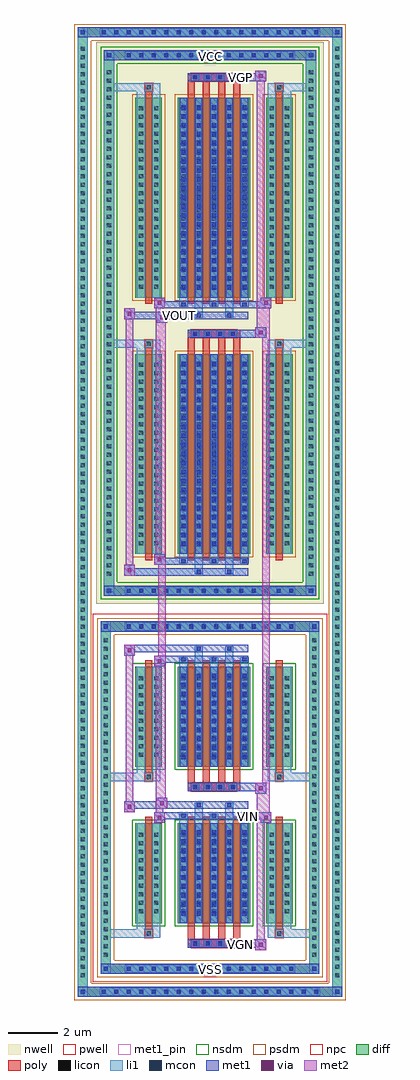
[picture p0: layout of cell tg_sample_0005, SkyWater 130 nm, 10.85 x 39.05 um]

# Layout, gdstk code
import gdstk
lib = gdstk.Library(unit=1e-6, precision=5e-09)
def R(c, l, rs):  # rectangles x0, y0, x1, y1
    for r in rs: c.add(gdstk.rectangle(r[:2], r[2:], *l))
def A(c, l, x, y, w, h, nx, ny, dx, dy):  # array of equal rectangles
    R(c, l, [(x+i*dx, y+j*dy, x+i*dx+w, y+j*dy+h) for i in range(nx) for j in range(ny)])
def P(c, l, *ps):  # polygons
    for p in ps: c.add(gdstk.Polygon(p, *l))
nwell = (64, 20)
pwell = (64, 44)
diff = (65, 20)
poly = (66, 20)
licon = (66, 44)
li1 = (67, 20)
mcon = (67, 44)
met1_pin = (68, 16)
met1 = (68, 20)
via = (68, 44)
met2 = (69, 20)
nsdm = (93, 44)
psdm = (94, 20)
npc = (95, 20)

tg_sample_0005 = lib.new_cell('tg_sample_0005')
R(tg_sample_0005, nwell, [(-4.555,7.76,4.555,30.21)])
R(tg_sample_0005, pwell, [(-4.685,-7.36,4.685,7.36)])
A(tg_sample_0005, diff, -4.455, -7.97, 0.41, 0.41, 18, 2, 0.5, 38.38)
A(tg_sample_0005, diff, -5.295, -7.31, 0.41, 0.41, 1, 110, 0, 0.34)
A(tg_sample_0005, diff, 4.885, -7.31, 0.41, 0.41, 1, 110, 0, 0.34)
A(tg_sample_0005, diff, -3.455, -7.05, 0.41, 0.41, 14, 2, 0.5, 13.69)
A(tg_sample_0005, diff, -4.375, -6.495, 0.41, 0.41, 1, 38, 0, 0.34)
A(tg_sample_0005, diff, 3.965, -6.495, 0.41, 0.41, 1, 38, 0, 0.34)
A(tg_sample_0005, diff, -3.455, 8.07, 0.41, 0.41, 14, 2, 0.5, 21.42)
A(tg_sample_0005, diff, -4.245, 8.75, 0.41, 0.41, 1, 60, 0, 0.34)
A(tg_sample_0005, diff, 3.835, 8.75, 0.41, 0.41, 1, 60, 0, 0.34)
R(tg_sample_0005, diff, [(-4.455,-7.97,4.455,-7.56), (-5.295,-7.31,-4.885,30.16), (4.885,-7.31,5.295,30.16), (-3.455,-7.05,3.455,-6.64), (-4.375,-6.495,-3.965,6.495), (3.965,-6.495,4.375,6.495), (-2.985,-5.02,-1.925,-1.02), (-1.285,-5.02,1.605,-1.02), (2.245,-5.02,3.305,-1.02), (-2.985,1.24,-1.925,5.24), (-1.285,1.24,1.605,5.24), (2.245,1.24,3.305,5.24), (-3.455,6.64,3.455,7.05), (-3.455,8.07,3.455,8.48), (-4.245,8.75,-3.835,29.22), (3.835,8.75,4.245,29.22), (-2.985,9.745,-1.925,17.745), (-1.285,9.745,1.605,17.745), (2.245,9.745,3.305,17.745), (-2.985,20.005,-1.925,28.005), (-1.285,20.005,1.605,28.005), (2.245,20.005,3.305,28.005), (-3.455,29.49,3.455,29.9), (-4.455,30.41,4.455,30.82)])
P(tg_sample_0005, diff, [(4.375,7.05),(-4.375,7.05),(-4.375,-6.64),(-3.965,-6.64),(-3.965,6.64),(3.965,6.64),(3.965,-6.64),(-3.965,-6.64),(-4.375,-6.64),(-4.375,-7.05),(4.375,-7.05)],
  [(5.295,30.82),(-5.295,30.82),(-5.295,-7.56),(-4.885,-7.56),(-4.885,30.41),(4.885,30.41),(4.885,-7.56),(-4.885,-7.56),(-5.295,-7.56),(-5.295,-7.97),(5.295,-7.97)],
  [(4.245,8.07),(-4.245,8.07),(-4.245,29.49),(-3.835,29.49),(-3.835,8.48),(3.835,8.48),(3.835,29.49),(-3.835,29.49),(-4.245,29.49),(-4.245,29.9),(4.245,29.9)])
A(tg_sample_0005, poly, -0.755, -6, 0.33, 0.33, 4, 2, 0.5, 6.26)
A(tg_sample_0005, poly, -0.895, -5.67, 0.28, 0.4, 4, 2, 0.61, 6.26)
A(tg_sample_0005, poly, -0.895, -5.27, 0.28, 4.5, 4, 2, 0.61, 6.26)
A(tg_sample_0005, poly, -0.895, 9.495, 0.28, 8.5, 4, 2, 0.61, 10.26)
A(tg_sample_0005, poly, -0.895, 17.995, 0.28, 0.4, 4, 2, 0.61, 10.26)
A(tg_sample_0005, poly, -0.755, 18.395, 0.33, 0.33, 4, 2, 0.5, 10.26)
R(tg_sample_0005, poly, [(-0.895,-6,1.215,-5.67), (-2.62,-5.6,-2.29,-5.27), (-2.62,-5.6,-2.29,-5.27), (2.61,-5.6,2.94,-5.27), (2.61,-5.6,2.94,-5.27), (-2.595,-5.27,-2.315,-0.77), (2.635,-5.27,2.915,-0.77), (-0.895,0.26,1.215,0.59), (-2.62,0.66,-2.29,0.99), (-2.62,0.66,-2.29,0.99), (2.61,0.66,2.94,0.99), (2.61,0.66,2.94,0.99), (-2.595,0.99,-2.315,5.49), (2.635,0.99,2.915,5.49), (-2.595,9.495,-2.315,17.995), (2.635,9.495,2.915,17.995), (-2.62,17.995,-2.29,18.325), (-2.62,17.995,-2.29,18.325), (2.61,17.995,2.94,18.325), (2.61,17.995,2.94,18.325), (-0.895,18.395,1.215,18.725), (-2.595,19.755,-2.315,28.255), (2.635,19.755,2.915,28.255), (-2.62,28.255,-2.29,28.585), (-2.62,28.255,-2.29,28.585), (2.61,28.255,2.94,28.585), (2.61,28.255,2.94,28.585), (-0.895,28.655,1.215,28.985)])
A(tg_sample_0005, licon, -4.335, -7.85, 0.17, 0.17, 18, 2, 0.5, 38.38)
A(tg_sample_0005, licon, -5.175, -7.19, 0.17, 0.17, 1, 110, 0, 0.34)
A(tg_sample_0005, licon, 5.005, -7.19, 0.17, 0.17, 1, 110, 0, 0.34)
A(tg_sample_0005, licon, -3.335, -6.93, 0.17, 0.17, 14, 2, 0.5, 13.69)
A(tg_sample_0005, licon, -4.255, -6.375, 0.17, 0.17, 1, 38, 0, 0.34)
A(tg_sample_0005, licon, 4.085, -6.375, 0.17, 0.17, 1, 38, 0, 0.34)
A(tg_sample_0005, licon, -0.675, -5.92, 0.17, 0.17, 4, 2, 0.5, 6.26)
A(tg_sample_0005, licon, -2.845, -4.635, 0.17, 0.17, 1, 10, 0, 0.34)
A(tg_sample_0005, licon, -2.235, -4.635, 0.17, 0.17, 1, 10, 0, 0.34)
A(tg_sample_0005, licon, -1.145, -4.635, 0.17, 0.17, 5, 10, 0.61, 0.34)
A(tg_sample_0005, licon, 2.385, -4.635, 0.17, 0.17, 1, 10, 0, 0.34)
A(tg_sample_0005, licon, 2.995, -4.635, 0.17, 0.17, 1, 10, 0, 0.34)
A(tg_sample_0005, licon, -2.845, 1.625, 0.17, 0.17, 1, 10, 0, 0.34)
A(tg_sample_0005, licon, -2.235, 1.625, 0.17, 0.17, 1, 10, 0, 0.34)
A(tg_sample_0005, licon, -1.145, 1.625, 0.17, 0.17, 5, 10, 0.61, 0.34)
A(tg_sample_0005, licon, 2.385, 1.625, 0.17, 0.17, 1, 10, 0, 0.34)
A(tg_sample_0005, licon, 2.995, 1.625, 0.17, 0.17, 1, 10, 0, 0.34)
A(tg_sample_0005, licon, -3.335, 8.19, 0.17, 0.17, 14, 2, 0.5, 21.42)
A(tg_sample_0005, licon, -4.125, 8.87, 0.17, 0.17, 1, 60, 0, 0.34)
A(tg_sample_0005, licon, 3.955, 8.87, 0.17, 0.17, 1, 60, 0, 0.34)
A(tg_sample_0005, licon, -2.845, 10.09, 0.17, 0.17, 1, 22, 0, 0.34)
A(tg_sample_0005, licon, -2.235, 10.09, 0.17, 0.17, 1, 22, 0, 0.34)
A(tg_sample_0005, licon, -1.145, 10.09, 0.17, 0.17, 5, 22, 0.61, 0.34)
A(tg_sample_0005, licon, 2.385, 10.09, 0.17, 0.17, 1, 22, 0, 0.34)
A(tg_sample_0005, licon, 2.995, 10.09, 0.17, 0.17, 1, 22, 0, 0.34)
A(tg_sample_0005, licon, -0.675, 18.475, 0.17, 0.17, 4, 2, 0.5, 10.26)
A(tg_sample_0005, licon, -2.845, 20.35, 0.17, 0.17, 1, 22, 0, 0.34)
A(tg_sample_0005, licon, -2.235, 20.35, 0.17, 0.17, 1, 22, 0, 0.34)
A(tg_sample_0005, licon, -1.145, 20.35, 0.17, 0.17, 5, 22, 0.61, 0.34)
A(tg_sample_0005, licon, 2.385, 20.35, 0.17, 0.17, 1, 22, 0, 0.34)
A(tg_sample_0005, licon, 2.995, 20.35, 0.17, 0.17, 1, 22, 0, 0.34)
R(tg_sample_0005, licon, [(-2.54,-5.52,-2.37,-5.35), (2.69,-5.52,2.86,-5.35), (-2.54,0.74,-2.37,0.91), (2.69,0.74,2.86,0.91), (-2.54,18.075,-2.37,18.245), (2.69,18.075,2.86,18.245), (-2.54,28.335,-2.37,28.505), (2.69,28.335,2.86,28.505)])
A(tg_sample_0005, li1, -4.415, -7.93, 0.33, 0.33, 18, 2, 0.5, 38.38)
A(tg_sample_0005, li1, -5.255, -7.27, 0.33, 0.33, 1, 110, 0, 0.34)
A(tg_sample_0005, li1, 4.925, -7.27, 0.33, 0.33, 1, 110, 0, 0.34)
A(tg_sample_0005, li1, -3.415, -7.01, 0.33, 0.33, 14, 2, 0.5, 13.69)
A(tg_sample_0005, li1, -4.335, -6.455, 0.33, 0.33, 1, 38, 0, 0.34)
A(tg_sample_0005, li1, 4.005, -6.455, 0.33, 0.33, 1, 38, 0, 0.34)
A(tg_sample_0005, li1, -0.755, -6, 0.33, 0.33, 4, 2, 0.5, 6.26)
A(tg_sample_0005, li1, -1.225, -5.02, 0.33, 4, 5, 2, 0.61, 6.26)
A(tg_sample_0005, li1, -1.145, -4.725, 0.17, 0.17, 5, 10, 0.61, 0.36)
A(tg_sample_0005, li1, -1.145, -4.725, 0.17, 3.41, 5, 2, 0.61, 6.26)
A(tg_sample_0005, li1, -2.925, -4.715, 0.33, 0.33, 1, 10, 0, 0.34)
A(tg_sample_0005, li1, -2.315, -4.715, 0.33, 0.33, 1, 10, 0, 0.34)
A(tg_sample_0005, li1, -1.225, -4.715, 0.33, 0.33, 5, 10, 0.61, 0.34)
A(tg_sample_0005, li1, 2.305, -4.715, 0.33, 0.33, 1, 10, 0, 0.34)
A(tg_sample_0005, li1, 2.915, -4.715, 0.33, 0.33, 1, 10, 0, 0.34)
A(tg_sample_0005, li1, -1.225, -1.02, 0.33, 0.375, 3, 2, 1.22, 6.26)
A(tg_sample_0005, li1, -1.145, -0.815, 0.17, 0.17, 3, 2, 1.22, 6.26)
A(tg_sample_0005, li1, -1.145, 1.535, 0.17, 0.17, 5, 10, 0.61, 0.36)
A(tg_sample_0005, li1, -2.925, 1.545, 0.33, 0.33, 1, 10, 0, 0.34)
A(tg_sample_0005, li1, -2.315, 1.545, 0.33, 0.33, 1, 10, 0, 0.34)
A(tg_sample_0005, li1, -1.225, 1.545, 0.33, 0.33, 5, 10, 0.61, 0.34)
A(tg_sample_0005, li1, 2.305, 1.545, 0.33, 0.33, 1, 10, 0, 0.34)
A(tg_sample_0005, li1, 2.915, 1.545, 0.33, 0.33, 1, 10, 0, 0.34)
A(tg_sample_0005, li1, -3.415, 8.11, 0.33, 0.33, 14, 2, 0.5, 21.42)
A(tg_sample_0005, li1, -4.205, 8.79, 0.33, 0.33, 1, 60, 0, 0.34)
A(tg_sample_0005, li1, 3.875, 8.79, 0.33, 0.33, 1, 60, 0, 0.34)
A(tg_sample_0005, li1, -1.225, 9.37, 0.33, 0.375, 3, 2, 1.22, 10.26)
A(tg_sample_0005, li1, -1.145, 9.37, 0.17, 0.17, 3, 2, 1.22, 10.26)
A(tg_sample_0005, li1, -1.225, 9.745, 0.33, 8, 5, 2, 0.61, 10.26)
A(tg_sample_0005, li1, -2.925, 10.01, 0.33, 0.33, 1, 22, 0, 0.34)
A(tg_sample_0005, li1, -2.315, 10.01, 0.33, 0.33, 1, 22, 0, 0.34)
A(tg_sample_0005, li1, -1.225, 10.01, 0.33, 0.33, 5, 22, 0.61, 0.34)
A(tg_sample_0005, li1, 2.305, 10.01, 0.33, 0.33, 1, 22, 0, 0.34)
A(tg_sample_0005, li1, 2.915, 10.01, 0.33, 0.33, 1, 22, 0, 0.34)
A(tg_sample_0005, li1, -1.145, 10.06, 0.17, 0.17, 5, 21, 0.61, 0.36)
A(tg_sample_0005, li1, -1.145, 10.06, 0.17, 7.37, 5, 2, 0.61, 10.26)
A(tg_sample_0005, li1, -0.755, 18.395, 0.33, 0.33, 4, 2, 0.5, 10.26)
A(tg_sample_0005, li1, -2.925, 20.27, 0.33, 0.33, 1, 22, 0, 0.34)
A(tg_sample_0005, li1, -2.315, 20.27, 0.33, 0.33, 1, 22, 0, 0.34)
A(tg_sample_0005, li1, -1.225, 20.27, 0.33, 0.33, 5, 22, 0.61, 0.34)
A(tg_sample_0005, li1, 2.305, 20.27, 0.33, 0.33, 1, 22, 0, 0.34)
A(tg_sample_0005, li1, 2.915, 20.27, 0.33, 0.33, 1, 22, 0, 0.34)
A(tg_sample_0005, li1, -1.145, 20.32, 0.17, 0.17, 5, 21, 0.61, 0.36)
R(tg_sample_0005, li1, [(-5.295,-7.97,-4.885,-7.56), (4.885,-7.97,5.295,-7.56), (-4.415,-7.93,4.415,-7.6), (-5.175,-7.85,-5.005,-7.68), (-5.175,-7.85,-5.005,-7.68), (5.005,-7.85,5.175,-7.68), (5.005,-7.85,5.175,-7.68), (-5.295,-7.56,-4.885,30.41), (4.885,-7.56,5.295,30.41), (-4.375,-7.05,-3.965,-6.64), (3.965,-7.05,4.375,-6.64), (-3.415,-7.01,3.415,-6.68), (-4.255,-6.93,-4.085,-6.76), (-4.255,-6.93,-4.085,-6.76), (4.085,-6.93,4.255,-6.76), (4.085,-6.93,4.255,-6.76), (-4.375,-6.64,-3.965,6.64), (3.965,-6.64,4.375,6.64), (-4.375,-5.6,-2.62,-5.27), (-2.925,-5.6,-2.62,-5.27), (-2.925,-5.6,-2.595,-5.02), (-2.62,-5.6,-2.29,-5.27), (-2.315,-5.6,-1.985,-5.02), (-2.29,-5.6,-1.985,-5.27), (2.305,-5.6,2.61,-5.27), (2.305,-5.6,2.635,-5.02), (2.61,-5.6,2.94,-5.27), (2.61,-5.6,4.375,-5.27), (2.915,-5.6,3.245,-5.02), (2.94,-5.6,3.245,-5.27), (-2.925,-5.02,-2.595,-1.02), (-2.315,-5.02,-1.985,-1.02), (2.305,-5.02,2.635,-1.02), (2.915,-5.02,3.245,-1.02), (-0.615,-1.02,-0.285,-0.215), (0.605,-1.02,0.935,-0.215), (-0.535,-0.385,-0.365,-0.215), (0.685,-0.385,0.855,-0.215), (-4.375,0.66,-2.62,0.99), (-2.925,0.66,-2.62,0.99), (-2.925,0.66,-2.595,1.24), (-2.62,0.66,-2.29,0.99), (-2.315,0.66,-1.985,1.24), (-2.29,0.66,-1.985,0.99), (2.305,0.66,2.61,0.99), (2.305,0.66,2.635,1.24), (2.61,0.66,2.94,0.99), (2.61,0.66,4.375,0.99), (2.915,0.66,3.245,1.24), (2.94,0.66,3.245,0.99), (-2.925,1.24,-2.595,5.24), (-2.315,1.24,-1.985,5.24), (2.305,1.24,2.635,5.24), (2.915,1.24,3.245,5.24), (-0.615,5.24,-0.285,6.045), (0.605,5.24,0.935,6.045), (-0.535,5.875,-0.365,6.045), (0.685,5.875,0.855,6.045), (-4.375,6.64,-3.965,7.05), (3.965,6.64,4.375,7.05), (-3.415,6.68,3.415,7.01), (-4.255,6.76,-4.085,6.93), (-4.255,6.76,-4.085,6.93), (4.085,6.76,4.255,6.93), (4.085,6.76,4.255,6.93), (-4.245,8.07,-3.835,8.48), (3.835,8.07,4.245,8.48), (-3.415,8.11,3.415,8.44), (-4.125,8.19,-3.955,8.36), (-4.125,8.19,-3.955,8.36), (3.955,8.19,4.125,8.36), (3.955,8.19,4.125,8.36), (-4.245,8.48,-3.835,29.49), (3.835,8.48,4.245,29.49), (-0.615,8.94,-0.285,9.745), (-0.535,8.94,-0.365,9.11), (0.605,8.94,0.935,9.745), (0.685,8.94,0.855,9.11), (-2.925,9.745,-2.595,17.745), (-2.315,9.745,-1.985,17.745), (2.305,9.745,2.635,17.745), (2.915,9.745,3.245,17.745), (-2.925,17.745,-2.595,18.325), (-2.315,17.745,-1.985,18.325), (2.305,17.745,2.635,18.325), (2.915,17.745,3.245,18.325), (-4.245,17.995,-2.62,18.325), (-2.925,17.995,-2.62,18.325), (-2.62,17.995,-2.29,18.325), (-2.29,17.995,-1.985,18.325), (2.305,17.995,2.61,18.325), (2.61,17.995,2.94,18.325), (2.61,17.995,4.245,18.325), (2.94,17.995,3.245,18.325), (-0.615,19.2,-0.285,20.005), (-0.535,19.2,-0.365,19.37), (0.605,19.2,0.935,20.005), (0.685,19.2,0.855,19.37), (-2.925,20.005,-2.595,28.005), (-2.315,20.005,-1.985,28.005), (2.305,20.005,2.635,28.005), (2.915,20.005,3.245,28.005), (-2.925,28.005,-2.595,28.585), (-2.315,28.005,-1.985,28.585), (2.305,28.005,2.635,28.585), (2.915,28.005,3.245,28.585), (-4.245,28.255,-2.62,28.585), (-2.925,28.255,-2.62,28.585), (-2.62,28.255,-2.29,28.585), (-2.29,28.255,-1.985,28.585), (2.305,28.255,2.61,28.585), (2.61,28.255,2.94,28.585), (2.61,28.255,4.245,28.585), (2.94,28.255,3.245,28.585), (-4.245,29.49,-3.835,29.9), (3.835,29.49,4.245,29.9), (-3.415,29.53,3.415,29.86), (-4.125,29.61,-3.955,29.78), (-4.125,29.61,-3.955,29.78), (3.955,29.61,4.125,29.78), (3.955,29.61,4.125,29.78), (-5.295,30.41,-4.885,30.82), (4.885,30.41,5.295,30.82), (-4.415,30.45,4.415,30.78), (-5.175,30.53,-5.005,30.7), (-5.175,30.53,-5.005,30.7), (5.005,30.53,5.175,30.7), (5.005,30.53,5.175,30.7)])
A(tg_sample_0005, mcon, -4.335, -7.85, 0.17, 0.17, 18, 2, 0.5, 38.38)
A(tg_sample_0005, mcon, -3.335, -6.93, 0.17, 0.17, 14, 2, 0.5, 13.69)
A(tg_sample_0005, mcon, -0.675, -5.92, 0.17, 0.17, 4, 2, 0.5, 6.26)
A(tg_sample_0005, mcon, -1.145, -4.725, 0.17, 0.17, 5, 10, 0.61, 0.36)
A(tg_sample_0005, mcon, -1.145, -0.815, 0.17, 0.17, 3, 2, 1.22, 6.26)
A(tg_sample_0005, mcon, -1.145, 1.535, 0.17, 0.17, 5, 10, 0.61, 0.36)
A(tg_sample_0005, mcon, -3.335, 8.19, 0.17, 0.17, 14, 2, 0.5, 21.42)
A(tg_sample_0005, mcon, -1.145, 9.37, 0.17, 0.17, 3, 2, 1.22, 10.26)
A(tg_sample_0005, mcon, -1.145, 10.06, 0.17, 0.17, 5, 21, 0.61, 0.36)
A(tg_sample_0005, mcon, -0.675, 18.475, 0.17, 0.17, 4, 2, 0.5, 10.26)
A(tg_sample_0005, mcon, -1.145, 20.32, 0.17, 0.17, 5, 21, 0.61, 0.36)
R(tg_sample_0005, mcon, [(-5.175,-7.85,-5.005,-7.68), (5.005,-7.85,5.175,-7.68), (-4.255,-6.93,-4.085,-6.76), (4.085,-6.93,4.255,-6.76), (-0.535,-0.385,-0.365,-0.215), (0.685,-0.385,0.855,-0.215), (-0.535,5.875,-0.365,6.045), (0.685,5.875,0.855,6.045), (-4.255,6.76,-4.085,6.93), (4.085,6.76,4.255,6.93), (-4.125,8.19,-3.955,8.36), (3.955,8.19,4.125,8.36), (-0.535,8.94,-0.365,9.11), (0.685,8.94,0.855,9.11), (-0.535,19.2,-0.365,19.37), (0.685,19.2,0.855,19.37), (-4.125,29.61,-3.955,29.78), (3.955,29.61,4.125,29.78), (-5.175,30.53,-5.005,30.7), (5.005,30.53,5.175,30.7)])
R(tg_sample_0005, met1_pin, [(-0.25,-7.14,0.25,-6.64), (1.08,-6,1.35,-5.73), (1.39,-0.875,1.66,-0.605), (-1.34,19.14,-1.07,19.41), (1.08,28.655,1.35,28.925), (-0.25,29.4,0.25,29.9)])
A(tg_sample_0005, met1, -4.395, -7.91, 0.29, 0.29, 18, 2, 0.5, 38.38)
A(tg_sample_0005, met1, -3.395, -6.99, 0.29, 0.29, 14, 2, 0.5, 13.69)
A(tg_sample_0005, met1, -0.735, -5.98, 0.29, 0.29, 4, 2, 0.5, 6.26)
A(tg_sample_0005, met1, -1.205, -5.02, 0.29, 4, 5, 2, 0.61, 6.26)
A(tg_sample_0005, met1, -1.205, -4.785, 0.29, 0.29, 5, 10, 0.61, 0.36)
A(tg_sample_0005, met1, -1.205, -0.875, 0.29, 0.29, 3, 2, 1.22, 6.26)
A(tg_sample_0005, met1, -1.205, 1.475, 0.29, 0.29, 5, 10, 0.61, 0.36)
A(tg_sample_0005, met1, -3.395, 8.13, 0.29, 0.29, 14, 2, 0.5, 21.42)
A(tg_sample_0005, met1, -1.205, 9.31, 0.29, 0.29, 3, 2, 1.22, 10.26)
A(tg_sample_0005, met1, -1.205, 9.745, 0.29, 8, 5, 2, 0.61, 10.26)
A(tg_sample_0005, met1, -1.205, 10, 0.29, 0.29, 5, 21, 0.61, 0.36)
A(tg_sample_0005, met1, -0.735, 18.415, 0.29, 0.29, 4, 2, 0.5, 10.26)
A(tg_sample_0005, met1, -1.205, 20.26, 0.29, 0.29, 5, 21, 0.61, 0.36)
R(tg_sample_0005, met1, [(-5.295,-7.97,-4.885,-7.56), (-5.295,-7.97,-4.885,-7.56), (-4.885,-7.97,4.885,-7.56), (4.885,-7.97,5.295,-7.56), (4.885,-7.97,5.295,-7.56), (-5.235,-7.91,-4.945,-7.62), (4.945,-7.91,5.235,-7.62), (-4.375,-7.05,-3.965,-6.64), (-4.375,-7.05,-3.965,-6.64), (-3.965,-7.05,3.965,-6.64), (3.965,-7.05,4.375,-6.64), (3.965,-7.05,4.375,-6.64), (-4.315,-6.99,-4.025,-6.7), (4.025,-6.99,4.315,-6.7), (1.815,-6.1,2.245,-5.67), (-0.895,-6,1.215,-5.67), (1.215,-6,2.245,-5.67), (-2.235,-1.015,-1.805,-0.585), (2.025,-1.015,2.455,-0.585), (-2.235,-0.875,-1.205,-0.585), (-1.205,-0.875,1.525,-0.585), (1.525,-0.875,2.455,-0.585), (-3.435,-0.585,-3.005,-0.155), (-3.435,-0.445,-1.205,-0.155), (-2.135,-0.445,-1.705,-0.015), (-2.135,-0.445,-1.205,-0.155), (-1.205,-0.445,1.525,-0.155), (-0.595,-0.445,-0.305,-0.155), (0.625,-0.445,0.915,-0.155), (1.815,0.16,2.245,0.59), (-0.895,0.26,1.215,0.59), (1.215,0.26,2.245,0.59), (-2.235,5.245,-1.805,5.675), (-2.235,5.385,-1.205,5.675), (-1.205,5.385,1.525,5.675), (-3.435,5.675,-3.005,6.105), (-3.435,5.815,-1.205,6.105), (-1.205,5.815,1.525,6.105), (-0.595,5.815,-0.305,6.105), (0.625,5.815,0.915,6.105), (-4.375,6.64,-3.965,7.05), (-4.375,6.64,-3.965,7.05), (-3.965,6.64,3.965,7.05), (3.965,6.64,4.375,7.05), (3.965,6.64,4.375,7.05), (-4.315,6.7,-4.025,6.99), (4.025,6.7,4.315,6.99), (-4.245,8.07,-3.835,8.48), (-4.245,8.07,-3.835,8.48), (-3.835,8.07,3.835,8.48), (3.835,8.07,4.245,8.48), (3.835,8.07,4.245,8.48), (-4.185,8.13,-3.895,8.42), (3.895,8.13,4.185,8.42), (-3.435,8.88,-3.005,9.31), (-3.435,8.88,-1.205,9.17), (-1.205,8.88,1.525,9.17), (-0.595,8.88,-0.305,9.17), (0.625,8.88,0.915,9.17), (-2.235,9.31,-1.805,9.74), (-2.235,9.31,-1.205,9.6), (-1.205,9.31,1.525,9.6), (-0.895,18.395,1.215,18.725), (1.215,18.395,2.245,18.725), (1.815,18.395,2.245,18.825), (-2.135,19,-1.705,19.43), (-3.435,19.14,-3.005,19.57), (-3.435,19.14,-1.205,19.43), (-2.135,19.14,-1.205,19.43), (-1.205,19.14,1.525,19.43), (-0.595,19.14,-0.305,19.43), (0.625,19.14,0.915,19.43), (-2.235,19.57,-1.805,20), (-2.235,19.57,-1.205,19.86), (-1.205,19.57,1.525,19.86), (1.525,19.57,2.455,19.86), (2.025,19.57,2.455,20), (-0.895,28.655,1.215,28.985), (1.215,28.655,2.245,28.985), (1.815,28.655,2.245,29.085), (-4.245,29.49,-3.835,29.9), (-4.245,29.49,-3.835,29.9), (-3.835,29.49,3.835,29.9), (3.835,29.49,4.245,29.9), (3.835,29.49,4.245,29.9), (-4.185,29.55,-3.895,29.84), (3.895,29.55,4.185,29.84), (-5.295,30.41,-4.885,30.82), (-5.295,30.41,-4.885,30.82), (-4.885,30.41,4.885,30.82), (4.885,30.41,5.295,30.82), (4.885,30.41,5.295,30.82), (-5.235,30.47,-4.945,30.76), (4.945,30.47,5.235,30.76)])
R(tg_sample_0005, via, [(1.955,-5.96,2.105,-5.81), (-2.095,-0.875,-1.945,-0.725), (2.165,-0.875,2.315,-0.725), (-3.295,-0.445,-3.145,-0.295), (-1.995,-0.305,-1.845,-0.155), (1.955,0.3,2.105,0.45), (-2.095,5.385,-1.945,5.535), (-3.295,5.815,-3.145,5.965), (-3.295,9.02,-3.145,9.17), (-2.095,9.45,-1.945,9.6), (1.955,18.535,2.105,18.685), (-1.995,19.14,-1.845,19.29), (-3.295,19.28,-3.145,19.43), (-2.095,19.71,-1.945,19.86), (2.165,19.71,2.315,19.86), (1.955,28.795,2.105,28.945)])
R(tg_sample_0005, met2, [(1.815,-6.1,2.245,-5.67), (1.865,-6.1,2.195,0.59), (2.195,-6.1,2.245,-5.67), (1.865,-6.05,2.195,-5.72), (-2.235,-1.015,-1.805,-0.585), (-2.165,-1.015,-1.875,5.675), (-1.875,-1.015,-1.805,-0.585), (2.025,-1.015,2.455,-0.585), (2.095,-1.015,2.385,20), (2.385,-1.015,2.455,-0.585), (-2.185,-0.965,-1.855,-0.635), (2.075,-0.965,2.405,-0.635), (-3.435,-0.585,-3.005,-0.155), (-3.365,-0.585,-3.075,6.105), (-3.075,-0.585,-3.005,-0.155), (-3.385,-0.535,-3.055,-0.205), (-2.135,-0.445,-1.705,-0.015), (-2.065,-0.445,-1.775,19.43), (-1.775,-0.445,-1.705,-0.015), (-2.085,-0.395,-1.755,-0.065), (1.815,0.16,2.245,0.59), (2.195,0.16,2.245,0.59), (1.865,0.21,2.195,0.54), (-2.235,5.245,-1.805,5.675), (-1.875,5.245,-1.805,5.675), (-2.185,5.295,-1.855,5.625), (-3.435,5.675,-3.005,6.105), (-3.075,5.675,-3.005,6.105), (-3.385,5.725,-3.055,6.055), (-3.435,8.88,-3.005,9.31), (-3.365,8.88,-3.075,19.57), (-3.075,8.88,-3.005,9.31), (-3.385,8.93,-3.055,9.26), (-2.235,9.31,-1.805,9.74), (-2.165,9.31,-1.875,20), (-1.875,9.31,-1.805,9.74), (-2.185,9.36,-1.855,9.69), (1.815,18.395,2.245,18.825), (1.865,18.395,2.195,29.085), (2.195,18.395,2.245,18.825), (1.865,18.445,2.195,18.775), (-2.135,19,-1.705,19.43), (-1.775,19,-1.705,19.43), (-2.085,19.05,-1.755,19.38), (-3.435,19.14,-3.005,19.57), (-3.075,19.14,-3.005,19.57), (-3.385,19.19,-3.055,19.52), (-2.235,19.57,-1.805,20), (-1.875,19.57,-1.805,20), (2.025,19.57,2.455,20), (2.385,19.57,2.455,20), (-2.185,19.62,-1.855,19.95), (2.075,19.62,2.405,19.95), (1.815,28.655,2.245,29.085), (2.195,28.655,2.245,29.085), (1.865,28.705,2.195,29.035)])
R(tg_sample_0005, nsdm, [(-3.115,-5.15,-1.795,-0.89), (-1.415,-5.15,1.735,-0.89), (2.115,-5.15,3.435,-0.89), (-3.115,1.11,-1.795,5.37), (-1.415,1.11,1.735,5.37), (2.115,1.11,3.435,5.37)])
P(tg_sample_0005, nsdm, [(4.375,7.94),(-4.375,7.94),(-4.375,29.36),(-3.705,29.36),(-3.705,8.61),(3.705,8.61),(3.705,29.36),(-3.705,29.36),(-4.375,29.36),(-4.375,30.03),(4.375,30.03)])
R(tg_sample_0005, psdm, [(-3.115,9.615,-1.795,17.875), (-1.415,9.615,1.735,17.875), (2.115,9.615,3.435,17.875), (-3.115,19.875,-1.795,28.135), (-1.415,19.875,1.735,28.135), (2.115,19.875,3.435,28.135)])
P(tg_sample_0005, psdm, [(4.505,7.18),(-4.505,7.18),(-4.505,-6.51),(-3.835,-6.51),(-3.835,6.51),(3.835,6.51),(3.835,-6.51),(-3.835,-6.51),(-4.505,-6.51),(-4.505,-7.18),(4.505,-7.18)],
  [(5.425,30.95),(-5.425,30.95),(-5.425,-7.43),(-4.755,-7.43),(-4.755,30.28),(4.755,30.28),(4.755,-7.43),(-4.755,-7.43),(-5.425,-7.43),(-5.425,-8.1),(5.425,-8.1)])
A(tg_sample_0005, npc, -0.775, -6.02, 0.37, 0.37, 4, 2, 0.5, 6.26)
A(tg_sample_0005, npc, -0.775, 18.375, 0.37, 0.37, 4, 2, 0.5, 10.26)
R(tg_sample_0005, npc, [(-0.775,-6.02,0.095,-5.65), (-0.775,-6.02,0.095,-5.65), (-0.275,-6.02,0.595,-5.65), (-0.275,-6.02,0.595,-5.65), (0.225,-6.02,1.095,-5.65), (0.225,-6.02,1.095,-5.65), (-2.64,-5.62,-2.27,-5.25), (2.59,-5.62,2.96,-5.25), (-0.775,0.24,0.095,0.61), (-0.775,0.24,0.095,0.61), (-0.275,0.24,0.595,0.61), (-0.275,0.24,0.595,0.61), (0.225,0.24,1.095,0.61), (0.225,0.24,1.095,0.61), (-2.64,0.64,-2.27,1.01), (2.59,0.64,2.96,1.01), (-2.64,17.975,-2.27,18.345), (2.59,17.975,2.96,18.345), (-0.775,18.375,0.095,18.745), (-0.775,18.375,0.095,18.745), (-0.275,18.375,0.595,18.745), (-0.275,18.375,0.595,18.745), (0.225,18.375,1.095,18.745), (0.225,18.375,1.095,18.745), (-2.64,28.235,-2.27,28.605), (2.59,28.235,2.96,28.605), (-0.775,28.635,0.095,29.005), (-0.775,28.635,0.095,29.005), (-0.275,28.635,0.595,29.005), (-0.275,28.635,0.595,29.005), (0.225,28.635,1.095,29.005), (0.225,28.635,1.095,29.005)])
tg_sample_0005.add(gdstk.Label('VIN', (1.525,-0.74), layer=68, texttype=5))
tg_sample_0005.add(gdstk.Label('VGN', (1.215,-5.865), layer=68, texttype=5))
tg_sample_0005.add(gdstk.Label('VGP', (1.215,28.79), layer=68, texttype=5))
tg_sample_0005.add(gdstk.Label('VSS', (0,-6.89), layer=68, texttype=5))
tg_sample_0005.add(gdstk.Label('VCC', (0,29.65), layer=68, texttype=5))
tg_sample_0005.add(gdstk.Label('VOUT', (-1.205,19.275), layer=68, texttype=5))

lib.write_gds('tg_sample_0005.gds')
